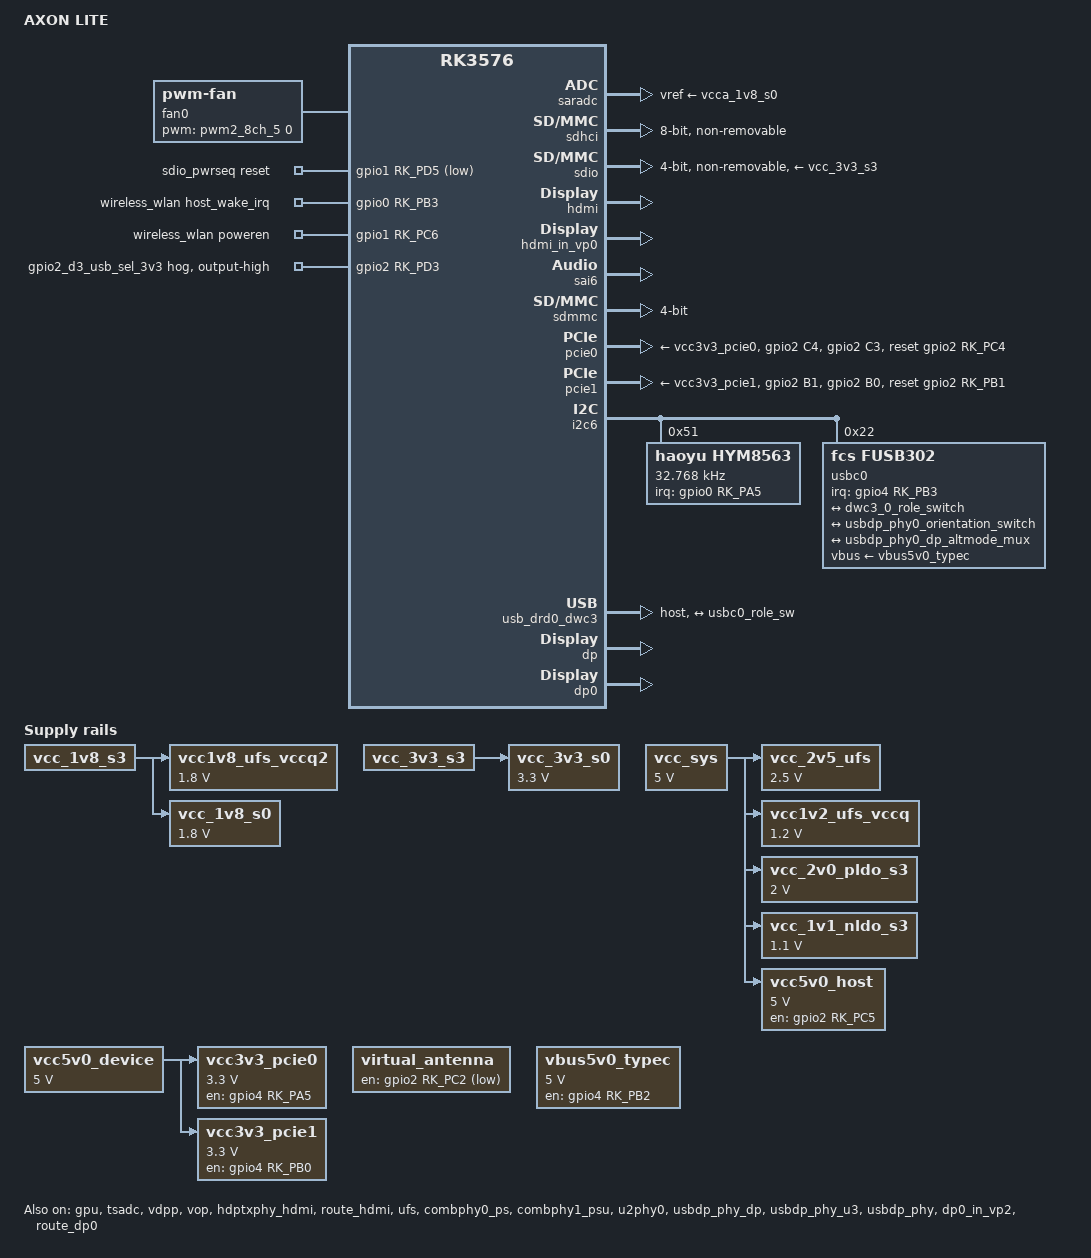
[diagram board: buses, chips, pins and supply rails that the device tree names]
// SPDX-License-Identifier: (GPL-2.0+ OR MIT)

/*
 * Copyright (c) 2024 Rockchip Electronics Co., Ltd.
 * Copyright (c) 2026 Vicharak Computers Ltd.
 *
 */

/dts-v1/;
#include <dt-bindings/usb/pd.h>
#include <dt-bindings/gpio/gpio.h>
#include <dt-bindings/pwm/pwm.h>
#include <dt-bindings/pinctrl/rockchip.h>
#include <dt-bindings/input/rk-input.h>
#include <dt-bindings/display/drm_mipi_dsi.h>
#include <dt-bindings/display/rockchip_vop.h>
#include <dt-bindings/sensor-dev.h>
#include "rk3576.dtsi"
#include "rk3576-linux.dtsi"
#include "rk3576-axon-lite-rk806-single.dtsi"

/ {
	model = "AXON LITE";
	compatible = "vicharak,rk3576-axon-lite", "rockchip,rk3576";

	fan0: pwm-fan {
		compatible = "pwm-fan";
		#cooling-cells = <2>;
		cooling-levels = <0 64 128 192 255>;
		pwms = <&pwm2_8ch_5 0 60000 0>;
	};

	vcc_sys: vcc5v0-sys {
		compatible = "regulator-fixed";
		regulator-name = "vcc_sys";
		regulator-always-on;
		regulator-boot-on;
		regulator-min-microvolt = <5000000>;
		regulator-max-microvolt = <5000000>;
	};

	vcc_2v5_ufs: vcc-2v5-ufs {
		compatible = "regulator-fixed";
		regulator-name = "vcc_2v5_ufs";
		regulator-min-microvolt = <2500000>;
		regulator-max-microvolt = <2500000>;
		regulator-boot-on;
		regulator-always-on;
		vin-supply = <&vcc_sys>;
	};

	vcc1v2_ufs_vccq: regulator-vcc1v2-ufs-vccq {
		compatible = "regulator-fixed";
		regulator-min-microvolt = <1200000>;
		regulator-max-microvolt = <1200000>;
		regulator-name = "vcc1v2_ufs_vccq";
		regulator-boot-on;
		regulator-always-on;
		vin-supply = <&vcc_sys>;
	};

	vcc1v8_ufs_vccq2: regulator-vcc1v8-ufs-vccq2 {
		compatible = "regulator-fixed";
		regulator-min-microvolt = <1800000>;
		regulator-max-microvolt = <1800000>;
		regulator-name = "vcc1v8_ufs_vccq2";
		regulator-boot-on;
		regulator-always-on;
		vin-supply = <&vcc_1v8_s3>;
	};

	vcc_2v0_pldo_s3: vcc-2v0-pldo-s3 {
		compatible = "regulator-fixed";
		regulator-name = "vcc_2v0_pldo_s3";
		regulator-boot-on;
		regulator-always-on;
		regulator-min-microvolt = <2000000>;
		regulator-max-microvolt = <2000000>;
		vin-supply = <&vcc_sys>;
	};

	vcc_1v1_nldo_s3: vcc-1v1-nldo-s3 {
		compatible = "regulator-fixed";
		regulator-name = "vcc_1v1_nldo_s3";
		regulator-boot-on;
		regulator-always-on;
		regulator-min-microvolt = <1100000>;
		regulator-max-microvolt = <1100000>;
		vin-supply = <&vcc_sys>;
	};

	vcc_1v8_s0: vcc-1v8-s0 {
		compatible = "regulator-fixed";
		regulator-name = "vcc_1v8_s0";
		regulator-boot-on;
		regulator-always-on;
		regulator-min-microvolt = <1800000>;
		regulator-max-microvolt = <1800000>;
		vin-supply = <&vcc_1v8_s3>;
	};

	vcc_3v3_s0: vcc-3v3-s0 {
		compatible = "regulator-fixed";
		regulator-name = "vcc_3v3_s0";
		regulator-boot-on;
		regulator-always-on;
		regulator-min-microvolt = <3300000>;
		regulator-max-microvolt = <3300000>;
		vin-supply = <&vcc_3v3_s3>;
	};

	vcc5v0_host: vcc5v0-host {
		compatible = "regulator-fixed";
		regulator-name = "vcc5v0_host";
		regulator-boot-on;
		regulator-always-on;
		regulator-min-microvolt = <5000000>;
		regulator-max-microvolt = <5000000>;
		enable-active-high;
		gpio = <&gpio2 RK_PC5 GPIO_ACTIVE_HIGH>;
		pinctrl-names = "default";
		pinctrl-0 = <&usb_host_pwren>;
		vin-supply = <&vcc_sys>;
	};

	vcc5v0_device: vcc5v0-device {
		compatible = "regulator-fixed";
		regulator-name = "vcc5v0_device";
		regulator-boot-on;
		regulator-always-on;
		regulator-min-microvolt = <5000000>;
		regulator-max-microvolt = <5000000>;
	};

	virtual_antenna: virtual-antenna {
		status = "okay";
		compatible = "regulator-fixed";
		regulator-name = "virtual_antenna";
		regulator-always-on;
		regulator-boot-on;
		enable-active-low;
		gpio = <&gpio2 RK_PC2 GPIO_ACTIVE_LOW>;
		pinctrl-names = "default";
		pinctrl-0 = <&virtual_ant>;
	};

	vcc3v3_pcie0: vcc3v3-pcie0 {
		compatible = "regulator-fixed";
		regulator-name = "vcc3v3_pcie0";
		regulator-min-microvolt = <3300000>;
		regulator-max-microvolt = <3300000>;
		enable-active-high;
		gpios = <&gpio4 RK_PA5 GPIO_ACTIVE_HIGH>;
		regulator-boot-on;
		regulator-always-on;
		vin-supply = <&vcc5v0_device>;
	};

	vcc3v3_pcie1: vcc3v3-pcie1 {
		compatible = "regulator-fixed";
		regulator-name = "vcc3v3_pcie1";
		regulator-min-microvolt = <3300000>;
		regulator-max-microvolt = <3300000>;
		enable-active-high;
		gpios = <&gpio4 RK_PB0 GPIO_ACTIVE_HIGH>;
		regulator-boot-on;
		regulator-always-on;
		vin-supply = <&vcc5v0_device>;
	};

	sdio_pwrseq: sdio-pwrseq {
		compatible = "mmc-pwrseq-simple";
		clocks = <&hym8563>;
		clock-names = "ext_clock";
		pinctrl-names = "default";
		pinctrl-0 = <&sdio_reset_wifi>;
		reset-gpios = <&gpio1 RK_PD5 GPIO_ACTIVE_LOW>;
		status = "okay";
	};

	hdmi_sound: hdmi-sound {
		compatible = "rockchip,hdmi";
		rockchip,mclk-fs = <128>;
		rockchip,card-name = "rockchip-hdmi0";
		rockchip,cpu = <&sai6>;
		rockchip,codec = <&hdmi>;
		rockchip,jack-det;
	};

	vbus5v0_typec: vbus5v0-typec {
		compatible = "regulator-fixed";
		regulator-name = "vbus5v0_typec";
		regulator-min-microvolt = <5000000>;
		regulator-max-microvolt = <5000000>;
		enable-active-high;
		gpio = <&gpio4 RK_PB2 GPIO_ACTIVE_HIGH>;
		pinctrl-names = "default";
		pinctrl-0 = <&usb_otg0_pwren>;
	};

	wireless_wlan: wireless-wlan {
		compatible = "wlan-platdata";
		wifi_chip_type = "rtl8852bs";
		pinctrl-names = "default";
		pinctrl-0 = <&wifi_host_wake_irq>, <&wifi_poweren_gpio>;
		WIFI,host_wake_irq = <&gpio0 RK_PB3 GPIO_ACTIVE_HIGH>;
		WIFI,poweren_gpio = <&gpio1 RK_PC6 GPIO_ACTIVE_HIGH>;
		status = "okay";
	};
};

&cpu_l0 {
	cpu-supply = <&vdd_cpu_lit_s0>;
};

&cpu_b0 {
	cpu-supply = <&vdd_cpu_big_s0>;
};

&gpu {
	mali-supply = <&vdd_gpu_s0>;
	status = "okay";
};

&rockchip_suspend {
	status = "okay";
	rockchip,sleep-debug-en = <1>;

	rockchip,sleep-io-ret-config = <
		(0
		| RKPM_VCCIO3_RET_EN
		)
	>;

	rockchip,regulator-on-before-mem = <&vdd_npu_s0>;
};

&vdd_logic_s0 {
	regulator-state-mem {
		regulator-on-in-suspend;
	};
};

&vcca_1v8_s0 {
	regulator-state-mem {
		regulator-on-in-suspend;
	};
};

&saradc {
	status = "okay";
	vref-supply = <&vcca_1v8_s0>;
};

&tsadc {
	status = "okay";
};

&threshold {
	temperature = <60000>;
};

&little_core_thermal {
	sustainable-power = <5000>; /* milliwatts */
	cooling-maps {
		map3 {
			trip = <&target>;
			cooling-device =
				<&fan0 THERMAL_NO_LIMIT THERMAL_NO_LIMIT>;
			contribution = <8192>;
		};
		map4 {
			trip = <&threshold>;
			cooling-device =
				<&fan0 THERMAL_NO_LIMIT THERMAL_NO_LIMIT>;
			contribution = <8192>;
		};
	};
};

&sdhci {
	bus-width = <8>;
	no-sdio;
	no-sd;
	non-removable;
	max-frequency = <200000000>;
	mmc-hs400-1_8v;
	mmc-hs400-enhanced-strobe;
	full-pwr-cycle-in-suspend;
	status = "okay";
};

&sdio {
	max-frequency = <150000000>;
	no-sd;
	no-mmc;
	bus-width = <4>;
	disable-wp;
	cap-sd-highspeed;
	cap-sdio-irq;
	keep-power-in-suspend;
	mmc-pwrseq = <&sdio_pwrseq>;
	non-removable;
	pinctrl-names = "default";
	pinctrl-0 = <&sdmmc1m0_bus4 &sdmmc1m0_clk &sdmmc1m0_cmd>;
	vmmc-supply = <&vcc_3v3_s3>;
	vqmmc-supply = <&vcc_1v8_s3>;
	status = "okay";
};

&vdpp {
	status = "okay";
};

&vop {
	status = "okay";
	vop-supply = <&vdd_logic_s0>;
};

&vop_mmu {
	status = "okay";
};

&vp2 {
	assigned-clocks = <&cru DCLK_VP2_SRC>;
	assigned-clock-parents = <&cru PLL_VPLL>;
};

&display_subsystem {
	clocks = <&hdptxphy_hdmi>;
	clock-names = "hdmi0_phy_pll";
};

&hdmi {
	status = "okay";
	cec-enable;
	enable-gpios = <&gpio0 RK_PD0 GPIO_ACTIVE_HIGH>;
};

&hdmi_in_vp0 {
	status = "okay";
};

&hdptxphy_hdmi {
	status = "okay";
};

&route_hdmi {
	status = "okay";
	connect = <&vp0_out_hdmi>;
};

&vp0 {
	rockchip,plane-mask = <(1 << ROCKCHIP_VOP2_CLUSTER0 | 1 << ROCKCHIP_VOP2_ESMART0)>;
	rockchip,primary-plane = <ROCKCHIP_VOP2_CLUSTER0>;
	cursor-win-id = <ROCKCHIP_VOP2_ESMART0>;
};

&vp1 {
	rockchip,plane-mask = <(1 << ROCKCHIP_VOP2_CLUSTER1 | 1 << ROCKCHIP_VOP2_ESMART1)>;
	rockchip,primary-plane = <ROCKCHIP_VOP2_CLUSTER1>;
	cursor-win-id = <ROCKCHIP_VOP2_ESMART1>;
};

&vp2 {
	rockchip,plane-mask = <(1 << ROCKCHIP_VOP2_ESMART2 | 1 << ROCKCHIP_VOP2_ESMART3)>;
	rockchip,primary-plane = <ROCKCHIP_VOP2_ESMART2>;
	cursor-win-id = <ROCKCHIP_VOP2_ESMART3>;
};

&sai6 {
	status = "okay";
};

&ufs {
	status = "okay";
	reset-gpios = <&gpio4 RK_PD0 GPIO_ACTIVE_LOW>;
	vdd-hba-supply = <&vcc_2v5_ufs>;
	vcc-supply = <&vcc_2v5_ufs>;
	vccq-supply = <&vcc1v2_ufs_vccq>;
	vccq2-supply = <&vcc1v8_ufs_vccq2>;
	pinctrl-0 = <&ufs_refclk &ufs_rst>;
};

&sdmmc {
	max-frequency = <200000000>;
	no-sdio;
	no-mmc;
	bus-width = <4>;
	cap-mmc-highspeed;
	cap-sd-highspeed;
	disable-wp;
	sd-uhs-sdr104;
	vqmmc-supply = <&vccio_sd_s0>;
	status = "okay";
};

&combphy0_ps {
	rockchip,pipe-grf = <&php_grf>;
	status = "okay";
};

&combphy1_psu {
	status = "okay";
	rockchip,pipe-grf = <&php_grf>;
};

&pcie0 {
	pinctrl-names = "default";
	pinctrl-0 = <&pcie0_rst &pcie0m0_pins &pcie0_wake>;
	reset-gpios = <&gpio2 RK_PC4 GPIO_ACTIVE_HIGH>;
	vpcie3v3-supply = <&vcc3v3_pcie0>;
	status = "okay";
};

&pcie1 {
	pinctrl-names = "default";
	pinctrl-0 = <&pcie1_rst &pcie1m0_pins &pcie1_wake>;
	reset-gpios = <&gpio2 RK_PB1 GPIO_ACTIVE_HIGH>;
	vpcie3v3-supply = <&vcc3v3_pcie1>;
	rockchip,skip-scan-in-resume;
	status = "okay";
};

&i2c6 {
	status = "okay";
	pinctrl-names = "default";
	pinctrl-0 = <&i2c6m3_xfer>;

	hym8563: hym8563@51 {
		compatible = "haoyu,hym8563";
		reg = <0x51>;
		#clock-cells = <0>;
		clock-frequency = <32768>;
		clock-output-names = "hym8563";
		pinctrl-names = "default";
		pinctrl-0 = <&hym8563_int>;
		interrupt-parent = <&gpio0>;
		interrupts = <RK_PA5 IRQ_TYPE_LEVEL_LOW>;
		wakeup-source;
	};

	usbc0: fusb302@22 {
		compatible = "fcs,fusb302";
		reg = <0x22>;
		interrupt-parent = <&gpio4>;
		interrupts = <RK_PB3 IRQ_TYPE_LEVEL_LOW>;
		pinctrl-names = "default";
		pinctrl-0 = <&usbc0_int>;
		vbus-supply = <&vbus5v0_typec>;
		status = "okay";
		ports {
			#address-cells = <1>;
			#size-cells = <0>;

			port@0 {
				reg = <0>;

				usbc0_role_sw: endpoint@0 {
					remote-endpoint = <&dwc3_0_role_switch>;
				};
			};
		};

		usb_con: connector {
			compatible = "usb-c-connector";
			label = "USB-C";
			data-role = "dual";
			power-role = "dual";
			try-power-role = "sink";
			op-sink-microwatt = <1000000>;

			sink-pdos =
				<PDO_FIXED(5000, 1000, PDO_FIXED_USB_COMM)>;
			source-pdos =
				<PDO_FIXED(5000, 3000, PDO_FIXED_USB_COMM)>;

			altmodes {
				#address-cells = <1>;
				#size-cells = <0>;

				altmode@0 {
					reg = <0>;
					svid = <0xff01>;
					vdo = <0xffffffff>;
				};
			};

			ports {
				#address-cells = <1>;
				#size-cells = <0>;

				port@0 {
					reg = <0>;
					usbc0_orien_sw: endpoint {
						remote-endpoint = <&usbdp_phy0_orientation_switch>;
					};
				};

				port@1 {
					reg = <1>;
					dp_altmode_mux: endpoint {
						remote-endpoint = <&usbdp_phy0_dp_altmode_mux>;
					};
				};
			};
		};
	};
};

&u2phy0 {
	status = "okay";
};

&usbdp_phy_dp {
	status = "okay";
};

&usbdp_phy_u3 {
	status = "okay";
};

&u2phy1 {
	status = "disabled";
};

&u2phy1_otg {
	phy-supply = <&vcc5v0_host>;
	status = "disabled";
};

&usb_drd1_dwc3 {
	dr_mode = "host";
	status = "disabled";
};

&usbdp_phy {
	status = "okay";
	orientation-switch;
	svid = <0xff01>;
	sbu1-dc-gpios = <&gpio4 RK_PC4 GPIO_ACTIVE_HIGH>;
	sbu2-dc-gpios = <&gpio4 RK_PC5 GPIO_ACTIVE_HIGH>;

	port {
		#address-cells = <1>;
		#size-cells = <0>;
		usbdp_phy0_orientation_switch: endpoint@0 {
			reg = <0>;
			remote-endpoint = <&usbc0_orien_sw>;
		};

		usbdp_phy0_dp_altmode_mux: endpoint@1 {
			reg = <1>;
			remote-endpoint = <&dp_altmode_mux>;
		};
	};
};

&usb_drd0_dwc3 {
	status = "okay";
	dr_mode = "host";

	port {
		#address-cells = <1>;
		#size-cells = <0>;
		dwc3_0_role_switch: endpoint@0 {
			reg = <0>;
			remote-endpoint = <&usbc0_role_sw>;
		};
	};
};

&dp {
	status = "okay";
};

&dp0 {
	status = "okay";
};

&dp0_in_vp2 {
	status = "okay";
};

&route_dp0 {
	status = "okay";
	connect = <&vp2_out_dp0>;
};

&pinctrl {
	usb {
		usb_host_pwren: usb-host-pwren {
			rockchip,pins = <2 RK_PC5 RK_FUNC_GPIO &pcfg_pull_none>;
		};

		usb_otg0_pwren: usb-otg0-pwren {
			rockchip,pins = <4 RK_PB2 RK_FUNC_GPIO &pcfg_pull_none>;
		};

		usbc0_int: usbc0-int {
			rockchip,pins = <4 RK_PB3 RK_FUNC_GPIO &pcfg_pull_up>;
		};
	};

	antenna {
		virtual_ant: virtual-ant {
			rockchip,pins = <2 RK_PC2 RK_FUNC_GPIO &pcfg_pull_none>;
		};
	};

	ufs {
		ufs_refclk: ufs-refclk {
			rockchip,pins = <4 RK_PD1 1 &pcfg_pull_none>;
		};

		ufs_rst: ufs-rst {
			rockchip,pins = <4 RK_PD0 0 &pcfg_pull_down>;
		};
	};

	hym8563 {
		hym8563_int: hym8563-int {
			rockchip,pins = <0 RK_PA5 RK_FUNC_GPIO &pcfg_pull_up>;
		};
	};

	pcie0 {
		pcie0_rst: pcie0-rst {
			rockchip,pins =
				<2 RK_PC4 RK_FUNC_GPIO &pcfg_pull_none>;
		};

		pcie0_clkreq: pcie0-clkreq {
			rockchip,pins =
				<2 RK_PB2 4 &pcfg_pull_none>;
		};

		pcie0_wake: pcie0-wake {
			rockchip,pins =
				<2 RK_PC3 RK_FUNC_GPIO &pcfg_pull_none>;
		};
	};

	pcie1 {
		pcie1_rst: pcie1-rst {
			rockchip,pins =
				<2 RK_PB1 RK_FUNC_GPIO &pcfg_pull_none>;
		};

		pcie1_clkreq: pcie1-clkreq {
			rockchip,pins =
				<2 RK_PB3 4 &pcfg_pull_none>;
		};

		pcie1_wake: pcie1-wake {
			rockchip,pins =
				<2 RK_PB0 RK_FUNC_GPIO &pcfg_pull_none>;
		};
	};

	wireless-wlan {
		sdio_reset_wifi: sdio-reset-wifi {
			rockchip,pins =
				<1 RK_PD5 RK_FUNC_GPIO &pcfg_pull_none>;
		};

		wifi_host_wake_irq: wifi-host-wake-irq {
			rockchip,pins =
				<0 RK_PB3 RK_FUNC_GPIO &pcfg_pull_none>;
		};

		wifi_poweren_gpio: wifi-poweren-gpio {
			rockchip,pins =
				<1 RK_PC6 RK_FUNC_GPIO &pcfg_pull_up>;
		};
	};

};

&gpio0 {
	gpio-line-names =
		/* GPIO0_A0-A3 */
		"", "", "", "",
		/* GPIO0_A4-A7 */
		"", "", "", "",

		/* GPIO0_B0-B3 */
		"", "", "", "",
		/* GPIO0_B4-B7 */
		"", "", "", "",

		/* GPIO0_C0-C3 */
		"", "PIN_16", "PIN_18", "",
		/* GPIO0_C4-C7 */
		"", "", "", "",

		/* GPIO0_D0-D3 */
		"", "", "", "",
		/* GPIO0_D4-D7 */
		"", "", "", "";
};

&gpio1 {
	gpio-line-names =
		/* GPIO1_A0-A3 */
		"", "", "", "",
		/* GPIO1_A4-A7 */
		"", "", "", "",

		/* GPIO1_B0-B3 */
		"", "", "", "",
		/* GPIO1_B4-B7 */
		"", "", "", "",

		/* GPIO1_C0-C3 */
		"", "", "", "",
		/* GPIO1_C4-C7 */
		"", "", "", "",

		/* GPIO1_D0-D3 */
		"", "", "", "",
		/* GPIO1_D4-D7 */
		"", "", "", "";
};

&gpio2 {
	gpio-line-names =
		/* GPIO2_A0-A3 */
		"", "", "", "",
		/* GPIO2_A4-A7 */
		"", "", "PIN_26", "PIN_15",

		/* GPIO2_B0-B3 */
		"", "", "", "",
		/* GPIO2_B4-B7 */
		"PIN_22", "PIN_7", "PIN_28", "PIN_37",

		/* GPIO2_C0-C3 */
		"", "", "", "",
		/* GPIO2_C4-C7 */
		"", "", "", "",

		/* GPIO2_D0-D3 */
		"", "", "", "",
		/* GPIO2_D4-D7 */
		"PIN_36", "PIN_32", "", "";
};

&gpio3 {
	gpio-line-names =
		/* GPIO3_A0-A3 */
		"PIN_12", "PIN_35", "PIN_40", "PIN_38",
		/* GPIO3_A4-A7 */
		"", "", "", "",

		/* GPIO3_B0-B3 */
		"", "", "", "",
		/* GPIO3_B4-B7 */
		"", "", "", "PIN_13",

		/* GPIO3_C0-C3 */
		"PIN_11", "", "", "",
		/* GPIO3_C4-C7 */
		"", "PIN_27", "PIN_29", "PIN_31",

		/* GPIO3_D0-D3 */
		"PIN_33", "", "", "",
		/* GPIO3_D4-D7 */
		"PIN_23", "PIN_21", "PIN_19", "PIN_24";
};

&gpio4 {
	gpio-line-names =
		/* GPIO4_A0-A3 */
		"PIN_5", "PIN_3", "", "",
		/* GPIO4_A4-A7 */
		"", "", "", "",

		/* GPIO4_B0-B3 */
		"", "", "", "",
		/* GPIO4_B4-B7 */
		"", "", "", "",

		/* GPIO4_C0-C3 */
		"", "", "", "",
		/* GPIO4_C4-C7 */
		"", "", "", "",

		/* GPIO4_D0-D3 */
		"", "", "", "",
		/* GPIO4_D4-D7 */
		"", "", "", "";
};

&gpio2 {
	gpio2_d3_hog {
		gpio-hog;
		gpios = <RK_PD3 GPIO_ACTIVE_HIGH>;
		output-high;
		line-name = "gpio2_d3_usb_sel_3v3";
	};
};
